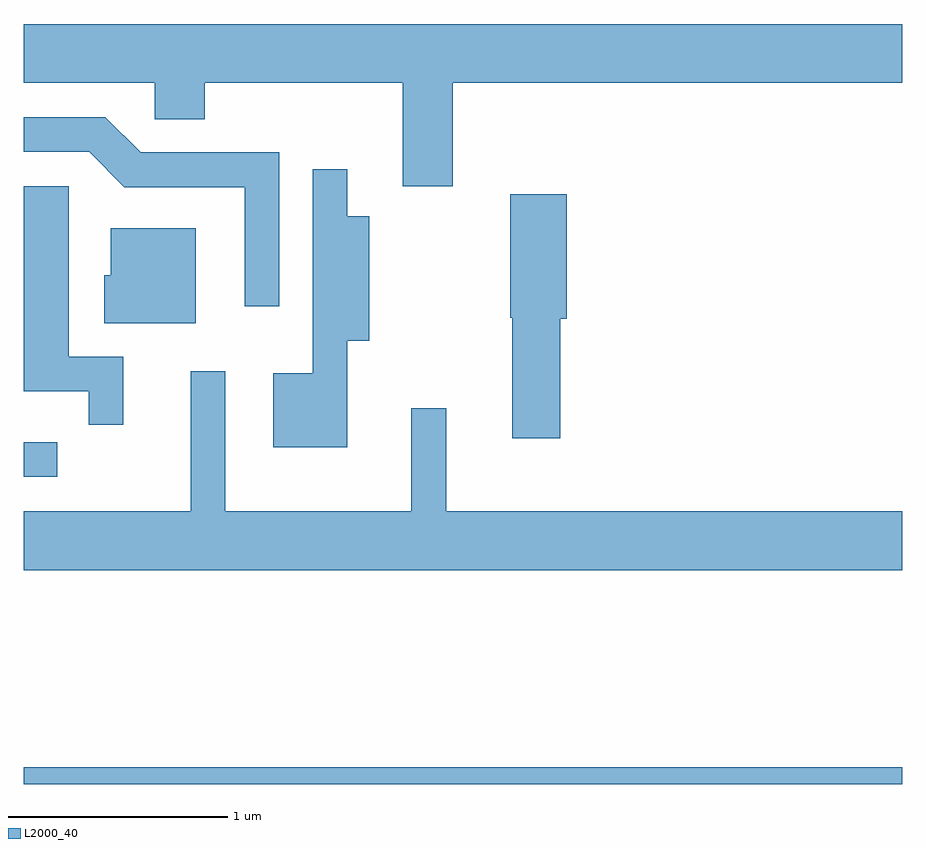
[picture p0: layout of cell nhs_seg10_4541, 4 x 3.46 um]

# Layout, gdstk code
import gdstk
lib = gdstk.Library(unit=1e-6, precision=1e-09)
def R(c, l, rs):  # rectangles x0, y0, x1, y1
    for r in rs: c.add(gdstk.rectangle(r[:2], r[2:], *l))
def P(c, l, *ps):  # polygons
    for p in ps: c.add(gdstk.Polygon(p, *l))
L2000_40 = (2000, 40)

nhs_seg10_4541 = lib.new_cell('nhs_seg10_4541')
R(nhs_seg10_4541, L2000_40, [(319.611,2088.522,323.611,2088.599), (319.611,2089.921,319.763,2090.079)])
P(nhs_seg10_4541, L2000_40, [(321.564,2091.716),(323.611,2091.716),(323.611,2091.984),(319.611,2091.984),(319.611,2091.716),(320.206,2091.716),(320.206,2091.551),(320.434,2091.551),(320.434,2091.716),(321.336,2091.716),(321.336,2091.246),(321.564,2091.246)],
  [(320.774,2091.399),(320.142,2091.399),(319.982,2091.559),(319.611,2091.559),(319.611,2091.401),(319.909,2091.401),(320.069,2091.241),(320.616,2091.241),(320.616,2090.698),(320.774,2090.698)],
  [(321.084,2090.541),(321.184,2090.541),(321.184,2091.109),(321.084,2091.109),(321.084,2091.323),(320.926,2091.323),(320.926,2090.394),(320.746,2090.394),(320.746,2090.056),(321.084,2090.056)],
  [(320.064,2090.469),(319.814,2090.469),(319.814,2091.244),(319.611,2091.244),(319.611,2090.311),(319.906,2090.311),(319.906,2090.158),(320.064,2090.158)],
  [(322.054,2090.641),(322.084,2090.641),(322.084,2091.209),(321.826,2091.209),(321.826,2090.645),(321.836,2090.645),(321.836,2090.096),(322.054,2090.096)],
  [(320.394,2091.054),(320.006,2091.054),(320.006,2090.839),(319.976,2090.839),(319.976,2090.621),(320.394,2090.621)],
  [(323.611,2089.764),(321.534,2089.764),(321.534,2090.233),(321.376,2090.233),(321.376,2089.764),(320.529,2089.764),(320.529,2090.403),(320.371,2090.403),(320.371,2089.764),(319.611,2089.764),(319.611,2089.496),(323.611,2089.496)])

lib.write_gds('nhs_seg10_4541.gds')
